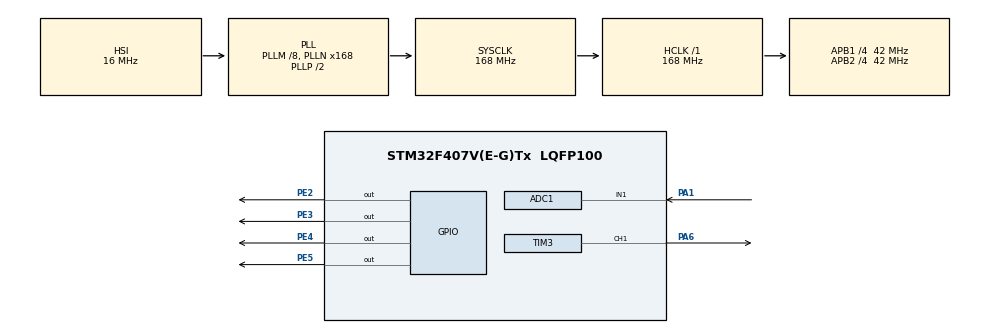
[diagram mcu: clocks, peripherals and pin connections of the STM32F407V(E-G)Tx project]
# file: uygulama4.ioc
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ADC1.Channel-0\#ChannelRegularConversion=ADC_CHANNEL_1
ADC1.ClockPrescaler=ADC_CLOCK_SYNC_PCLK_DIV2
ADC1.ContinuousConvMode=DISABLE
ADC1.DMAContinuousRequests=DISABLE
ADC1.DataAlign=ADC_DATAALIGN_RIGHT
ADC1.DiscontinuousConvMode=DISABLE
ADC1.EOCSelection=ADC_EOC_SINGLE_CONV
ADC1.EnableAnalogWatchDog=false
ADC1.ExternalTrigConv=ADC_SOFTWARE_START
ADC1.ExternalTrigConvEdge=ADC_EXTERNALTRIGCONVEDGE_NONE
ADC1.InjNumberOfConversion=0
ADC1.NbrOfConversion=1
ADC1.NbrOfConversionFlag=1
ADC1.Rank-0\#ChannelRegularConversion=1
ADC1.Resolution=ADC_RESOLUTION_6B
ADC1.SamplingTime-0\#ChannelRegularConversion=ADC_SAMPLETIME_84CYCLES
ADC1.ScanConvMode=DISABLE
ADC1.master=1
Mcu.Family=STM32F4
Mcu.Name=STM32F407V(E-G)Tx
Mcu.Package=LQFP100
NVIC.ADC_IRQn=true\:0\:0\:false\:false\:true
NVIC.PriorityGroup=NVIC_PRIORITYGROUP_4
NVIC.TIM3_IRQn=true\:0\:0\:false\:false\:true
PA1.Signal=SharedAnalog_PA1
PA6.Signal=S_TIM3_CH1
PE2.Signal=GPIO_Output
PE3.Signal=GPIO_Output
PE4.Signal=GPIO_Output
PE5.Signal=GPIO_Output
ProjectManager.HeapSize=0x200
ProjectManager.StackSize=0x400
ProjectManager.TargetToolchain=MDK-ARM V5
RCC.48MHZClocksFreq_Value=84000000
RCC.AHBFreq_Value=168000000
RCC.APB1CLKDivider=RCC_HCLK_DIV4
RCC.APB1Freq_Value=42000000
RCC.APB1TimFreq_Value=84000000
RCC.APB2CLKDivider=RCC_HCLK_DIV4
RCC.APB2Freq_Value=42000000
RCC.APB2TimFreq_Value=84000000
RCC.CortexFreq_Value=168000000
RCC.HCLKFreq_Value=168000000
RCC.HSE_VALUE=25000000
RCC.HSI_VALUE=16000000
RCC.LSE_VALUE=32768
RCC.PLLM=8
RCC.PLLN=168
RCC.SYSCLKFreq_VALUE=168000000
RCC.SYSCLKSource=RCC_SYSCLKSOURCE_PLLCLK
RCC.VCOOutputFreq_Value=336000000
SH.S_TIM3_CH1.0=TIM3_CH1,PWM Generation1 CH1
SH.SharedAnalog_PA1.0=GPIO_Analog
SH.SharedAnalog_PA1.1=ADC1_IN1,IN1
TIM3.Channel-PWM\ Generation1\ CH1=TIM_CHANNEL_1
TIM3.Period=100
TIM3.Prescaler=83
board=uygulama4

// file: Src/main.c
/**
  ******************************************************************************
  * File Name          : main.c
  * Description        : Main program body
  ******************************************************************************
  *
  * COPYRIGHT(c) 2017 STMicroelectronics
  *
  * Redistribution and use in source and binary forms, with or without modification,
  * are permitted provided that the following conditions are met:
  *   1. Redistributions of source code must retain the above copyright notice,
  *      this list of conditions and the following disclaimer.
  *   2. Redistributions in binary form must reproduce the above copyright notice,
  *      this list of conditions and the following disclaimer in the documentation
  *      and/or other materials provided with the distribution.
  *   3. Neither the name of STMicroelectronics nor the names of its contributors
  *      may be used to endorse or promote products derived from this software
  *      without specific prior written permission.
  *
  * THIS SOFTWARE IS PROVIDED BY THE COPYRIGHT HOLDERS AND CONTRIBUTORS "AS IS"
  * AND ANY EXPRESS OR IMPLIED WARRANTIES, INCLUDING, BUT NOT LIMITED TO, THE
  * IMPLIED WARRANTIES OF MERCHANTABILITY AND FITNESS FOR A PARTICULAR PURPOSE ARE
  * DISCLAIMED. IN NO EVENT SHALL THE COPYRIGHT HOLDER OR CONTRIBUTORS BE LIABLE
  * FOR ANY DIRECT, INDIRECT, INCIDENTAL, SPECIAL, EXEMPLARY, OR CONSEQUENTIAL
  * DAMAGES (INCLUDING, BUT NOT LIMITED TO, PROCUREMENT OF SUBSTITUTE GOODS OR
  * SERVICES; LOSS OF USE, DATA, OR PROFITS; OR BUSINESS INTERRUPTION) HOWEVER
  * CAUSED AND ON ANY THEORY OF LIABILITY, WHETHER IN CONTRACT, STRICT LIABILITY,
  * OR TORT (INCLUDING NEGLIGENCE OR OTHERWISE) ARISING IN ANY WAY OUT OF THE USE
  * OF THIS SOFTWARE, EVEN IF ADVISED OF THE POSSIBILITY OF SUCH DAMAGE.
  *
  ******************************************************************************
  */
#include "main.h"
#include "stm32f4xx_hal.h"

ADC_HandleTypeDef hadc1;

TIM_HandleTypeDef htim3;

/* USER CODE BEGIN PV */
/* Private variables ---------------------------------------------------------*/

uint16_t adc_data;
int syc=0;
int durum;
/* USER CODE END PV */

void SystemClock_Config(void);
void Error_Handler(void);
static void MX_GPIO_Init(void);
static void MX_ADC1_Init(void);
static void MX_TIM3_Init(void);

void HAL_TIM_MspPostInit(TIM_HandleTypeDef *htim);

/* USER CODE BEGIN PFP */
/* Private function prototypes -----------------------------------------------*/

/**
* @brief This function handles ADC1, ADC2 and ADC3 global interrupts.
*/
void ADC_IRQHandler(void)
{
  /* USER CODE BEGIN ADC_IRQn 0 */
	adc_data=HAL_ADC_GetValue(&hadc1)*2;
	TIM3->CCR1=adc_data;
  /* USER CODE END ADC_IRQn 0 */
  HAL_ADC_IRQHandler(&hadc1);
  /* USER CODE BEGIN ADC_IRQn 1 */

  /* USER CODE END ADC_IRQn 1 */
}

/**
* @brief This function handles TIM3 global interrupt.
*/
void TIM3_IRQHandler(void)
{
  /* USER CODE BEGIN TIM3_IRQn 0 */

	syc++;
	if(syc>20000){
		syc=0;
		durum++;
	}
	if(durum>2){
		durum=0;
	}

	HAL_ADC_Start_IT(&hadc1);

  /* USER CODE END TIM3_IRQn 0 */
  HAL_TIM_IRQHandler(&htim3);
  /* USER CODE BEGIN TIM3_IRQn 1 */

  /* USER CODE END TIM3_IRQn 1 */
}

/* USER CODE END PFP */

int main(void)
{

  /* MCU Configuration----------------------------------------------------------*/

  /* Reset of all peripherals, Initializes the Flash interface and the Systick. */
  HAL_Init();

  /* Configure the system clock */
  SystemClock_Config();

  /* Initialize all configured peripherals */
  MX_GPIO_Init();
  MX_ADC1_Init();
  MX_TIM3_Init();

  /* USER CODE BEGIN 2 */
	HAL_TIM_PWM_Start_IT(&htim3,  TIM_CHANNEL_1);
  /* USER CODE END 2 */

  /* Infinite loop */
  while (1)
  {

  /* USER CODE BEGIN 3 */

	if(durum==0){
		HAL_GPIO_WritePin(GPIOE, GPIO_PIN_2, GPIO_PIN_SET);
		HAL_GPIO_WritePin(GPIOE, GPIO_PIN_3, GPIO_PIN_RESET);
	}else if(durum==1){
		HAL_GPIO_WritePin(GPIOE, GPIO_PIN_2, GPIO_PIN_RESET);
		HAL_GPIO_WritePin(GPIOE, GPIO_PIN_3, GPIO_PIN_SET);
	}else if(durum==2){
		HAL_GPIO_WritePin(GPIOE, GPIO_PIN_2, GPIO_PIN_RESET);
		HAL_GPIO_WritePin(GPIOE, GPIO_PIN_3, GPIO_PIN_RESET);
	}

  }
  /* USER CODE END 3 */

}

/** System Clock Configuration
*/
void SystemClock_Config(void)
{

  RCC_OscInitTypeDef RCC_OscInitStruct;
  RCC_ClkInitTypeDef RCC_ClkInitStruct;

    /**Configure the main internal regulator output voltage
    */
  __HAL_RCC_PWR_CLK_ENABLE();

  __HAL_PWR_VOLTAGESCALING_CONFIG(PWR_REGULATOR_VOLTAGE_SCALE1);

    /**Initializes the CPU, AHB and APB busses clocks
    */
  RCC_OscInitStruct.OscillatorType = RCC_OSCILLATORTYPE_HSI;
  RCC_OscInitStruct.HSIState = RCC_HSI_ON;
  RCC_OscInitStruct.HSICalibrationValue = 16;
  RCC_OscInitStruct.PLL.PLLState = RCC_PLL_ON;
  RCC_OscInitStruct.PLL.PLLSource = RCC_PLLSOURCE_HSI;
  RCC_OscInitStruct.PLL.PLLM = 8;
  RCC_OscInitStruct.PLL.PLLN = 168;
  RCC_OscInitStruct.PLL.PLLP = RCC_PLLP_DIV2;
  RCC_OscInitStruct.PLL.PLLQ = 4;
  if (HAL_RCC_OscConfig(&RCC_OscInitStruct) != HAL_OK)
  {
    Error_Handler();
  }

    /**Initializes the CPU, AHB and APB busses clocks
    */
  RCC_ClkInitStruct.ClockType = RCC_CLOCKTYPE_HCLK|RCC_CLOCKTYPE_SYSCLK
                              |RCC_CLOCKTYPE_PCLK1|RCC_CLOCKTYPE_PCLK2;
  RCC_ClkInitStruct.SYSCLKSource = RCC_SYSCLKSOURCE_PLLCLK;
  RCC_ClkInitStruct.AHBCLKDivider = RCC_SYSCLK_DIV1;
  RCC_ClkInitStruct.APB1CLKDivider = RCC_HCLK_DIV4;
  RCC_ClkInitStruct.APB2CLKDivider = RCC_HCLK_DIV4;

  if (HAL_RCC_ClockConfig(&RCC_ClkInitStruct, FLASH_LATENCY_5) != HAL_OK)
  {
    Error_Handler();
  }

    /**Configure the Systick interrupt time
    */
  HAL_SYSTICK_Config(HAL_RCC_GetHCLKFreq()/1000);

    /**Configure the Systick
    */
  HAL_SYSTICK_CLKSourceConfig(SYSTICK_CLKSOURCE_HCLK);

  /* SysTick_IRQn interrupt configuration */
  HAL_NVIC_SetPriority(SysTick_IRQn, 0, 0);
}

/* ADC1 init function */
static void MX_ADC1_Init(void)
{

  ADC_ChannelConfTypeDef sConfig;

    /**Configure the global features of the ADC (Clock, Resolution, Data Alignment and number of conversion)
    */
  hadc1.Instance = ADC1;
  hadc1.Init.ClockPrescaler = ADC_CLOCK_SYNC_PCLK_DIV2;
  hadc1.Init.Resolution = ADC_RESOLUTION_6B;
  hadc1.Init.ScanConvMode = DISABLE;
  hadc1.Init.ContinuousConvMode = DISABLE;
  hadc1.Init.DiscontinuousConvMode = DISABLE;
  hadc1.Init.ExternalTrigConvEdge = ADC_EXTERNALTRIGCONVEDGE_NONE;
  hadc1.Init.ExternalTrigConv = ADC_SOFTWARE_START;
  hadc1.Init.DataAlign = ADC_DATAALIGN_RIGHT;
  hadc1.Init.NbrOfConversion = 1;
  hadc1.Init.DMAContinuousRequests = DISABLE;
  hadc1.Init.EOCSelection = ADC_EOC_SINGLE_CONV;
  if (HAL_ADC_Init(&hadc1) != HAL_OK)
  {
    Error_Handler();
  }

    /**Configure for the selected ADC regular channel its corresponding rank in the sequencer and its sample time.
    */
  sConfig.Channel = ADC_CHANNEL_1;
  sConfig.Rank = 1;
  sConfig.SamplingTime = ADC_SAMPLETIME_84CYCLES;
  if (HAL_ADC_ConfigChannel(&hadc1, &sConfig) != HAL_OK)
  {
    Error_Handler();
  }

}

/* TIM3 init function */
static void MX_TIM3_Init(void)
{

  TIM_MasterConfigTypeDef sMasterConfig;
  TIM_OC_InitTypeDef sConfigOC;

  htim3.Instance = TIM3;
  htim3.Init.Prescaler = 83;
  htim3.Init.CounterMode = TIM_COUNTERMODE_UP;
  htim3.Init.Period = 100;
  htim3.Init.ClockDivision = TIM_CLOCKDIVISION_DIV1;
  if (HAL_TIM_PWM_Init(&htim3) != HAL_OK)
  {
    Error_Handler();
  }

  sMasterConfig.MasterOutputTrigger = TIM_TRGO_RESET;
  sMasterConfig.MasterSlaveMode = TIM_MASTERSLAVEMODE_DISABLE;
  if (HAL_TIMEx_MasterConfigSynchronization(&htim3, &sMasterConfig) != HAL_OK)
  {
    Error_Handler();
  }

  sConfigOC.OCMode = TIM_OCMODE_PWM1;
  sConfigOC.Pulse = 0;
  sConfigOC.OCPolarity = TIM_OCPOLARITY_HIGH;
  sConfigOC.OCFastMode = TIM_OCFAST_DISABLE;
  if (HAL_TIM_PWM_ConfigChannel(&htim3, &sConfigOC, TIM_CHANNEL_1) != HAL_OK)
  {
    Error_Handler();
  }

  HAL_TIM_MspPostInit(&htim3);

}

/** Configure pins as
        * Analog
        * Input
        * Output
        * EVENT_OUT
        * EXTI
     PA1   ------> SharedAnalog_PA1
*/
static void MX_GPIO_Init(void)
{

  GPIO_InitTypeDef GPIO_InitStruct;

  /* GPIO Ports Clock Enable */
  __HAL_RCC_GPIOE_CLK_ENABLE();
  __HAL_RCC_GPIOA_CLK_ENABLE();

  /*Configure GPIO pin Output Level */
  HAL_GPIO_WritePin(GPIOE, GPIO_PIN_2|GPIO_PIN_3|GPIO_PIN_4|GPIO_PIN_5, GPIO_PIN_RESET);

  /*Configure GPIO pins : PE2 PE3 PE4 PE5 */
  GPIO_InitStruct.Pin = GPIO_PIN_2|GPIO_PIN_3|GPIO_PIN_4|GPIO_PIN_5;
  GPIO_InitStruct.Mode = GPIO_MODE_OUTPUT_PP;
  GPIO_InitStruct.Pull = GPIO_NOPULL;
  GPIO_InitStruct.Speed = GPIO_SPEED_FREQ_LOW;
  HAL_GPIO_Init(GPIOE, &GPIO_InitStruct);

  /*Configure GPIO pin : PA1 */
  GPIO_InitStruct.Pin = GPIO_PIN_1;
  GPIO_InitStruct.Mode = GPIO_MODE_ANALOG;
  GPIO_InitStruct.Pull = GPIO_NOPULL;
  HAL_GPIO_Init(GPIOA, &GPIO_InitStruct);

}

void Error_Handler(void)
{
  while(1)
  {
  }
}

/************************ (C) COPYRIGHT STMicroelectronics *****END OF FILE****/
